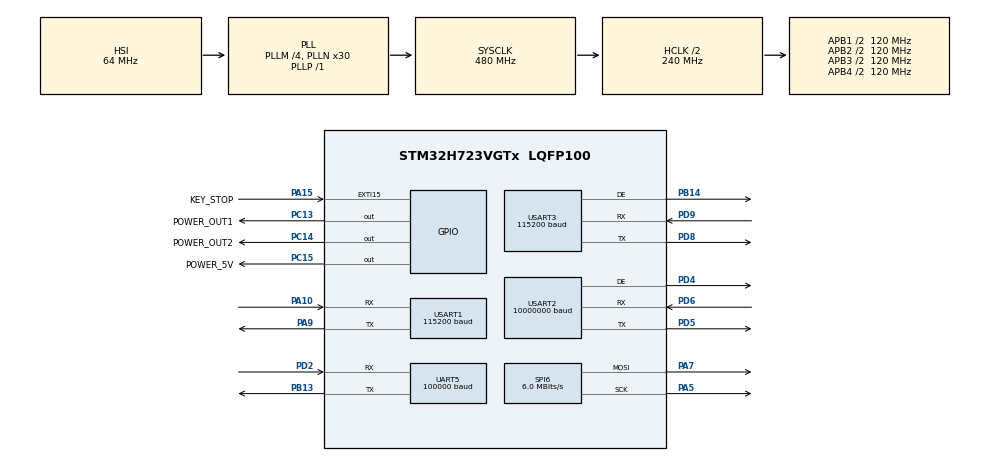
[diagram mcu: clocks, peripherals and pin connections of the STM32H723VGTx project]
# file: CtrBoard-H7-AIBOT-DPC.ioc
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Dma.Request0=UART5_RX
Dma.UART5_RX.0.Direction=DMA_PERIPH_TO_MEMORY
Dma.UART5_RX.0.EventEnable=DISABLE
Dma.UART5_RX.0.FIFOMode=DMA_FIFOMODE_DISABLE
Dma.UART5_RX.0.Instance=DMA1_Stream0
Dma.UART5_RX.0.MemDataAlignment=DMA_MDATAALIGN_BYTE
Dma.UART5_RX.0.MemInc=DMA_MINC_ENABLE
Dma.UART5_RX.0.Mode=DMA_CIRCULAR
Dma.UART5_RX.0.PeriphDataAlignment=DMA_PDATAALIGN_BYTE
Dma.UART5_RX.0.PeriphInc=DMA_PINC_DISABLE
Dma.UART5_RX.0.Polarity=HAL_DMAMUX_REQ_GEN_RISING
Dma.UART5_RX.0.Priority=DMA_PRIORITY_VERY_HIGH
Dma.UART5_RX.0.RequestNumber=1
Dma.UART5_RX.0.SignalID=NONE
Dma.UART5_RX.0.SyncEnable=DISABLE
Dma.UART5_RX.0.SyncPolarity=HAL_DMAMUX_SYNC_NO_EVENT
Dma.UART5_RX.0.SyncRequestNumber=1
Dma.UART5_RX.0.SyncSignalID=NONE
Mcu.Family=STM32H7
Mcu.Name=STM32H723VGTx
Mcu.Package=LQFP100
NVIC.DMA1_Stream0_IRQn=true\:0\:0\:false\:false\:true\:false\:true\:true
NVIC.EXTI15_10_IRQn=true\:1\:0\:true\:false\:true\:true\:true\:true
NVIC.PriorityGroup=NVIC_PRIORITYGROUP_4
NVIC.TIM6_DAC_IRQn=true\:3\:0\:true\:false\:true\:true\:true\:true
NVIC.UART5_IRQn=true\:1\:0\:true\:false\:true\:true\:true\:true
NVIC.USART1_IRQn=true\:5\:0\:false\:false\:true\:true\:true\:true
NVIC.USART2_IRQn=true\:6\:0\:true\:false\:true\:true\:true\:true
NVIC.USART3_IRQn=true\:0\:0\:true\:false\:true\:true\:true\:true
PA10.Mode=Asynchronous
PA10.Signal=USART1_RX
PA13(JTMS/SWDIO).Mode=Serial_Wire
PA13(JTMS/SWDIO).Signal=DEBUG_JTMS-SWDIO
PA14(JTCK/SWCLK).Mode=Serial_Wire
PA14(JTCK/SWCLK).Signal=DEBUG_JTCK-SWCLK
PA15(JTDI).GPIO_Label=KEY_STOP
PA15(JTDI).GPIO_ModeDefaultEXTI=GPIO_MODE_IT_FALLING
PA15(JTDI).Signal=GPXTI15
PA5.GPIO_Speed=GPIO_SPEED_FREQ_VERY_HIGH
PA5.Mode=TX_Only_Simplex_Unidirect_Master
PA5.Signal=SPI6_SCK
PA7.GPIO_Speed=GPIO_SPEED_FREQ_VERY_HIGH
PA7.Mode=TX_Only_Simplex_Unidirect_Master
PA7.Signal=SPI6_MOSI
PA9.Mode=Asynchronous
PA9.Signal=USART1_TX
PB13.Mode=Asynchronous
PB13.Signal=UART5_TX
PB14.Mode=Hardware Flow Control (RS485)
PB14.Signal=USART3_DE
PC13.GPIO_Label=POWER_OUT1
PC13.PinState=GPIO_PIN_SET
PC13.Signal=GPIO_Output
PC14-OSC32_IN.GPIO_Label=POWER_OUT2
PC14-OSC32_IN.PinState=GPIO_PIN_SET
PC14-OSC32_IN.Signal=GPIO_Output
PC15-OSC32_OUT.GPIO_Label=POWER_5V
PC15-OSC32_OUT.PinState=GPIO_PIN_SET
PC15-OSC32_OUT.Signal=GPIO_Output
PD2.Mode=Asynchronous
PD2.Signal=UART5_RX
PD4.Mode=Hardware Flow Control (RS485)
PD4.Signal=USART2_DE
PD5.Mode=Asynchronous
PD5.Signal=USART2_TX
PD6.Mode=Asynchronous
PD6.Signal=USART2_RX
PD8.Mode=Asynchronous
PD8.Signal=USART3_TX
PD9.Mode=Asynchronous
PD9.Signal=USART3_RX
PH0-OSC_IN.Mode=HSE-External-Oscillator
PH0-OSC_IN.Signal=RCC_OSC_IN
PH1-OSC_OUT.Mode=HSE-External-Oscillator
PH1-OSC_OUT.Signal=RCC_OSC_OUT
ProjectManager.HeapSize=0x200
ProjectManager.StackSize=0x800
ProjectManager.TargetToolchain=MDK-ARM V5.27
RCC.ADCFreq_Value=129000000
RCC.APB1Freq_Value=120000000
RCC.APB2Freq_Value=120000000
RCC.APB3Freq_Value=120000000
RCC.APB4Freq_Value=120000000
RCC.CortexFreq_Value=480000000
RCC.D1PPRE=RCC_APB3_DIV2
RCC.D2PPRE1=RCC_APB1_DIV2
RCC.D2PPRE2=RCC_APB2_DIV2
RCC.D3PPRE=RCC_APB4_DIV2
RCC.DIVM1=4
RCC.DIVN1=30
RCC.DIVP1=1
RCC.HCLKFreq_Value=240000000
RCC.HPRE=RCC_HCLK_DIV2
RCC.HSE_VALUE=24000000
RCC.PLL2FRACN=0
RCC.PLL3FRACN=0
RCC.PLLFRACN=0
RCC.SPI6CLockSelection=RCC_SPI6CLKSOURCE_HSE
RCC.SYSCLKFreq_VALUE=480000000
RCC.SYSCLKSource=RCC_SYSCLKSOURCE_PLLCLK
RCC.USBFreq_Value=240000000
SPI6.BaudRatePrescaler=SPI_BAUDRATEPRESCALER_4
SPI6.CLKPhase=SPI_PHASE_2EDGE
SPI6.CalculateBaudRate=6.0 MBits/s
SPI6.DataSize=SPI_DATASIZE_8BIT
SPI6.Direction=SPI_DIRECTION_2LINES_TXONLY
SPI6.Mode=SPI_MODE_MASTER
SPI6.VirtualType=VM_MASTER
TIM6.Period=999
TIM6.Prescaler=239
UART5.BaudRate=100000
UART5.Parity=PARITY_EVEN
UART5.StopBits=UART_STOPBITS_2
UART5.WordLength=WORDLENGTH_9B
USART1.BaudRate=115200
USART1.VirtualMode-Asynchronous=VM_ASYNC
USART2.BaudRate=10000000
USART2.OverSampling=UART_OVERSAMPLING_8
USART2.VirtualMode-Asynchronous=VM_ASYNC
USART2.VirtualMode-Hardware\ Flow\ Control\ (RS485)=VM_ASYNC
USART3.BaudRate=115200
USART3.OverSampling=UART_OVERSAMPLING_16
USART3.Parity=PARITY_NONE
USART3.StopBits=STOPBITS_2
USART3.VirtualMode-Asynchronous=VM_ASYNC
USART3.VirtualMode-Hardware\ Flow\ Control\ (RS485)=VM_ASYNC
USART3.WordLength=WORDLENGTH_8B
VP_MEMORYMAP_VS_MEMORYMAP.Mode=CurAppReg
VP_TIM6_VS_ClockSourceINT.Mode=Enable_Timer
board=custom

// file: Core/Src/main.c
/* USER CODE BEGIN Header */
/**
  ******************************************************************************
  * @file           : main.c
  * @brief          : Main program body
  ******************************************************************************
  * @attention
  *
  * Copyright (c) 2024 STMicroelectronics.
  * All rights reserved.
  *
  * This software is licensed under terms that can be found in the LICENSE file
  * in the root directory of this software component.
  * If no LICENSE file comes with this software, it is provided AS-IS.
  *
  ******************************************************************************
  */
/* USER CODE END Header */
#include "main.h"
#include "dma.h"
#include "spi.h"
#include "tim.h"
#include "usart.h"
#include "gpio.h"

/* USER CODE BEGIN Includes */
#include "app_config.h"
#include "bsp_rs485.h"
#include "ld2_motor.h"
#include "app_chassis_motor_ctrl.h"
#include "bsp_vofa.h"
#include "bsp_rc.h"
#include "app_ld2rs_task.h"
#include "app_led_indicator.h"
#include "arm_math.h"
#include "bsp_dwt.h"
#include <float.h>
#include <stdint.h>

/* USER CODE END Includes */

/* USER CODE BEGIN PTD */

typedef struct
{
  int8_t int8_value;
  uint8_t uint8_value;
  int16_t int16_value;
  uint16_t uint16_value;
  int32_t int32_value;
  uint32_t uint32_value;
  int64_t int64_value;
  uint64_t uint64_value;
  float float_value;
  double double_value;
} numeric_max_increment_test_t;

/* USER CODE END PTD */

/* USER CODE BEGIN PV */

volatile numeric_max_increment_test_t g_numeric_max_increment_test =
{
  .int8_value = INT8_MAX,
  .uint8_value = UINT8_MAX,
  .int16_value = INT16_MAX,
  .uint16_value = UINT16_MAX,
  .int32_value = INT32_MAX,
  .uint32_value = UINT32_MAX,
  .int64_value = INT64_MAX,
  .uint64_value = UINT64_MAX,
  .float_value = FLT_MAX,
  .double_value = DBL_MAX
};

/* USER CODE END PV */

void SystemClock_Config(void);
/* USER CODE BEGIN PFP */
static void App_Vofa_UpperDisplay(void);
/* USER CODE END PFP */

int main(void)
{

  /* USER CODE BEGIN 1 */
//  float32_t sine = arm_sin_f32(12);

  /* USER CODE END 1 */

  /* MCU Configuration--------------------------------------------------------*/

  /* Reset of all peripherals, Initializes the Flash interface and the Systick. */
  HAL_Init();

  /* Configure the system clock */
  SystemClock_Config();

  /* Initialize all configured peripherals */
  MX_GPIO_Init();
  MX_DMA_Init();
  MX_USART3_UART_Init();
  MX_USART1_UART_Init();
  MX_USART2_UART_Init();
  MX_UART5_Init();
  MX_SPI6_Init();
  MX_TIM6_Init();
  /* USER CODE BEGIN 2 */

  /* DWT 使用 480 MHz 内核周期提供微秒时间戳。 */
  if (!BSP_DWT_Init())
  {
    Error_Handler();
  }
	if (HAL_TIM_Base_Start_IT(&htim6) != HAL_OK)
  {
    Error_Handler();
  }
  /* BSP 层：初始化 RS485 总线 (硬件 DE 由 CubeMX HAL_RS485Ex_Init 配置) */
  bsp_rs485_init(&g_rs485_bus, &huart3);

  /* 中间件层：初始化 LD2-RS 设备句柄 */
  /* 电机1 (ID=16) */
  ld2_motor_init(&g_ld2rs_dev_m1, &g_rs485_bus, APP_LD2_MOTOR_SLAVE_ID_M1, APP_LD2_MOTOR_TIMEOUT_MS);

  /* 电机2 (ID=17) */
  ld2_motor_init(&g_ld2rs_dev_m2, &g_rs485_bus, APP_LD2_MOTOR_SLAVE_ID_M2, APP_LD2_MOTOR_TIMEOUT_MS);

  // /* 等待驱动器能接收 Modbus */
  // HAL_Delay(APP_SYSTEM_START_DELAY_MS);

  /* 应用层：初始化电机状态机 */
    /* 电机1 (ID=1) */
  app_chassis_ld2rs_motor_ctrl_init(&g_ld2rs_motor_ctrl_m1, &g_ld2rs_dev_m1, APP_MOTOR_CTRL_REF_SPEED_RPM_M1, 1u);

    /* 电机2 (ID=2) */
  app_chassis_ld2rs_motor_ctrl_init(&g_ld2rs_motor_ctrl_m2, &g_ld2rs_dev_m2, APP_MOTOR_CTRL_REF_SPEED_RPM_M2, 2u);

  /* 读回驱动器参数 (仅读不写, 存入设备句柄) */
  app_chassis_ld2rs_motor_ctrl_param_read_back(&g_ld2rs_dev_m1);
  app_chassis_ld2rs_motor_ctrl_param_read_back(&g_ld2rs_dev_m2);

  /* 硬写入 M1 速度环 PI */
  app_chassis_ld2rs_motor_ctrl_pi_init(&g_ld2rs_dev_m1, &g_ld2rs_motor_param_m1);
  /* 硬写入 M2 速度环 PI */
  app_chassis_ld2rs_motor_ctrl_pi_init(&g_ld2rs_dev_m2, &g_ld2rs_motor_param_m2);

  /* 启动遥控接收 (UART5 DMA+IDLE) */
  bsp_rc_init(&g_rc);

  /* 初始化非阻塞电机控制状态机 */
  app_ld2rs_task_init();

  /* WS4810 LED 状态指示 */
  app_led_indicator_init();

	g_numeric_max_increment_test.int8_value++;
  g_numeric_max_increment_test.uint8_value++;
  g_numeric_max_increment_test.int16_value++;
  g_numeric_max_increment_test.uint16_value++;
  g_numeric_max_increment_test.int32_value++;
  g_numeric_max_increment_test.uint32_value++;
  g_numeric_max_increment_test.int64_value++;
  g_numeric_max_increment_test.uint64_value++;
  g_numeric_max_increment_test.float_value++;
  g_numeric_max_increment_test.double_value++;
  /* USER CODE END 2 */

  /* Infinite loop */
  while (1)
  {

    /* USER CODE BEGIN 3 */
    app_ld2rs_task_run();           /* 差速解算 + M1/M2 Modbus 状态机 (非阻塞)  */

#if APP_VOFA_JUSTFLOAT_ENABLE
    App_Vofa_UpperDisplay();        /* VOFA+ 波形 */
#endif

    app_led_indicator_update();     /* WS4810 状态灯 */

    /* USART1 (PA9/PA10, 115200 8N1) available for debug output via USB-TTL.
     *  Use HAL_UART_Transmit(&huart1, buf, len, timeout_ms) — blocking, not for ISR. */
	}
  /* USER CODE END 3 */
}

void SystemClock_Config(void)
{
  RCC_OscInitTypeDef RCC_OscInitStruct = {0};
  RCC_ClkInitTypeDef RCC_ClkInitStruct = {0};

  /** Supply configuration update enable
  */
  HAL_PWREx_ConfigSupply(PWR_LDO_SUPPLY);

  /** Configure the main internal regulator output voltage
  */
  __HAL_PWR_VOLTAGESCALING_CONFIG(PWR_REGULATOR_VOLTAGE_SCALE0);

  while(!__HAL_PWR_GET_FLAG(PWR_FLAG_VOSRDY)) {}

  /** Initializes the RCC Oscillators according to the specified parameters
  * in the RCC_OscInitTypeDef structure.
  */
  RCC_OscInitStruct.OscillatorType = RCC_OSCILLATORTYPE_HSI|RCC_OSCILLATORTYPE_HSE;
  RCC_OscInitStruct.HSEState = RCC_HSE_ON;
  RCC_OscInitStruct.HSIState = RCC_HSI_DIV1;
  RCC_OscInitStruct.HSICalibrationValue = 64;
  RCC_OscInitStruct.PLL.PLLState = RCC_PLL_ON;
  RCC_OscInitStruct.PLL.PLLSource = RCC_PLLSOURCE_HSI;
  RCC_OscInitStruct.PLL.PLLM = 4;
  RCC_OscInitStruct.PLL.PLLN = 30;
  RCC_OscInitStruct.PLL.PLLP = 1;
  RCC_OscInitStruct.PLL.PLLQ = 2;
  RCC_OscInitStruct.PLL.PLLR = 2;
  RCC_OscInitStruct.PLL.PLLRGE = RCC_PLL1VCIRANGE_3;
  RCC_OscInitStruct.PLL.PLLVCOSEL = RCC_PLL1VCOWIDE;
  RCC_OscInitStruct.PLL.PLLFRACN = 0;
  if (HAL_RCC_OscConfig(&RCC_OscInitStruct) != HAL_OK)
  {
    Error_Handler();
  }

  /** Initializes the CPU, AHB and APB buses clocks
  */
  RCC_ClkInitStruct.ClockType = RCC_CLOCKTYPE_HCLK|RCC_CLOCKTYPE_SYSCLK
                              |RCC_CLOCKTYPE_PCLK1|RCC_CLOCKTYPE_PCLK2
                              |RCC_CLOCKTYPE_D3PCLK1|RCC_CLOCKTYPE_D1PCLK1;
  RCC_ClkInitStruct.SYSCLKSource = RCC_SYSCLKSOURCE_PLLCLK;
  RCC_ClkInitStruct.SYSCLKDivider = RCC_SYSCLK_DIV1;
  RCC_ClkInitStruct.AHBCLKDivider = RCC_HCLK_DIV2;
  RCC_ClkInitStruct.APB3CLKDivider = RCC_APB3_DIV2;
  RCC_ClkInitStruct.APB1CLKDivider = RCC_APB1_DIV2;
  RCC_ClkInitStruct.APB2CLKDivider = RCC_APB2_DIV2;
  RCC_ClkInitStruct.APB4CLKDivider = RCC_APB4_DIV2;

  if (HAL_RCC_ClockConfig(&RCC_ClkInitStruct, FLASH_LATENCY_3) != HAL_OK)
  {
    Error_Handler();
  }
}

/* USER CODE BEGIN 4 */

/* VOFA+ JustFloat 转速通道数据 (MotorRuntime 状态机周期写入) */
vofa_motor_info_t g_vofa_speed = {0.0f};

static void App_Vofa_UpperDisplay(void)
{
  extern volatile uint8_t g_emergency_stop_flag;
    /* VOFA+ JustFloat 发送: 每 APP_VOFA_JUSTFLOAT_PERIOD_MS 一帧 */
  {
      static uint32_t s_u32LastVofaTick = 0u;

      uint32_t now_tick = HAL_GetTick();
      if ((now_tick - s_u32LastVofaTick) >= APP_VOFA_JUSTFLOAT_PERIOD_MS) {

          float vofa_channels[23] = {
              (float)g_vofa_speed.m1_ref_speed_rpm,          /* CH01 */
              (float)g_vofa_speed.m1_feedback_speed_rpm,     /* CH02 */

              (float)g_vofa_speed.m2_ref_speed_rpm,          /* CH03 */
              (float)g_vofa_speed.m2_feedback_speed_rpm,     /* CH04 */

              (float)g_emergency_stop_flag,                  /* CH05 */
              (float)g_rc.lost_flag,                         /* CH06 */
              (float)g_rc.sw_st[eRC_SW_A].curr,              /* CH07 */

              (float)g_vofa_speed.m1_offline_total_count,    /* CH08 */
              (float)g_vofa_speed.m1_offline_confirmed,      /* CH09 */

              (float)g_vofa_speed.m2_offline_total_count,    /* CH10 */
              (float)g_vofa_speed.m2_offline_confirmed,      /* CH11 */

              (float)g_rc_filter.ch_ry,                      /* CH12 */
              (float)g_rc_filter.ch_rx,                      /* CH13 */

              (float)g_rc_chassis.fLinearVel,                /* CH14 */
              (float)g_rc_chassis.fAngularVel,               /* CH15 */

              (float)g_vofa_speed.m1_cycle_ms,               /* CH16 */
              (float)g_vofa_speed.m2_cycle_ms,               /* CH17 */
							(float)g_vofa_speed.m1_encoder_position_counts,
							(float)g_vofa_speed.m2_encoder_position_counts,

              (float)g_vofa_speed.m1_encoder_estimated_speed_rpm, /* CH20 */
              (float)g_vofa_speed.m2_encoder_estimated_speed_rpm, /* CH21 */
              (float)g_vofa_speed.est_error_m1_rpm,          /* CH22 */
              (float)g_vofa_speed.est_error_m2_rpm           /* CH23 */
          };
          bsp_vofa_just_float(vofa_channels, 23);
          s_u32LastVofaTick = now_tick;
      }
  }
}
/* USER CODE END 4 */

void Error_Handler(void)
{
  __disable_irq();
  while (1)
  {
  }
}
